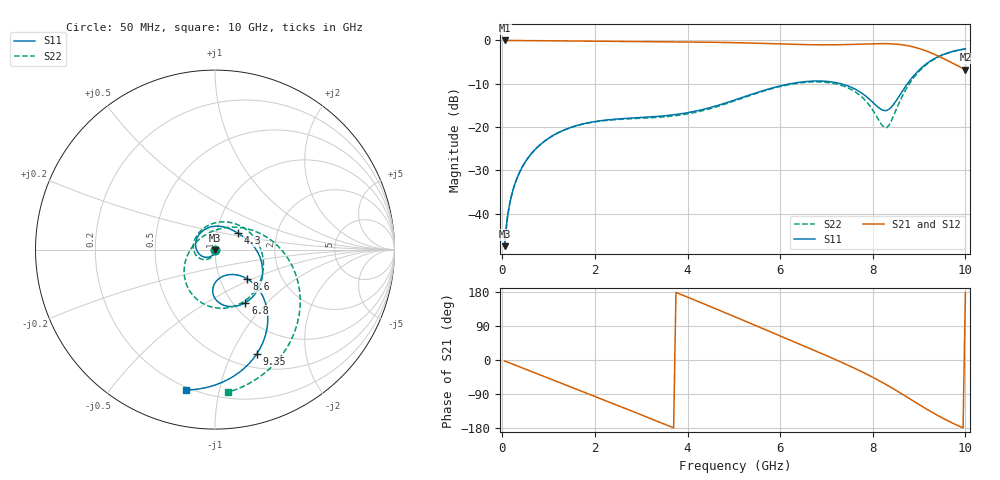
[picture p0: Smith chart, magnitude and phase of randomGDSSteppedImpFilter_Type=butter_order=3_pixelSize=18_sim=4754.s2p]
! freq	dB(S11)	phase(S11)	dB(S12)	phase(S12)
!  dB(S21)	phase(S21)	dB(S22)	phase(S22)
!S-par simulation data
#  GHz  S  DB  R 50
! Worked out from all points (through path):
!   200 points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, 50 MHz to 10 GHz, reference 50 ohm
!   highest |S21| = 0.00 dB at 50 MHz (marker M1); lowest = -6.8 dB at 10 GHz (marker M2)
!   group delay of S21, straight-line fit = 148 ps
!   lowest |S11| = -47.5 dB at 50 MHz (marker M3), VSWR 1.01, Z = 50 - j0.423 ohm
!   |S11| at or under -10 dB: start of sweep to 6.218 GHz; 7.317 GHz to 8.748 GHz (1.431 GHz wide, 17.8 % of centre)
!   |S22| runs from -47.5 to -2.0 dB; largest |S21 - S12| = 0
!   S11 on the Smith chart (normalised r, x): 50 MHz: 1.00, -0.01; 4.3 GHz: 1.27, +0.24; 6.8 GHz: 1.14, -0.76; 8.6 GHz: 1.34, -0.46; 9.35 GHz: 0.66, -1.26; 10 GHz: 0.18, -0.80
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0.05  -47.47 -89.3  -0.00 -2.5  -0.00 -2.5  -47.46 -88.4
0.1  -41.66 -93.5  -0.01 -4.9  -0.01 -4.9  -41.65 -92.0
0.2  -35.75 -100.3  -0.02 -9.7  -0.02 -9.7  -35.73 -97.4
0.5  -27.99 -118.2  -0.04 -24.1  -0.04 -24.1  -27.98 -110.9
1.15  -21.62 -155.1  -0.09 -55.3  -0.09 -55.3  -21.62 -137.8
1.75  -19.25 170.3  -0.15 -84.1  -0.15 -84.1  -19.28 -161.4
2.5  -18.12 126.2  -0.21 -120.3  -0.21 -120.3  -18.23 169.9
3.4  -17.49 75.3  -0.28 -164.3  -0.28 -164.3  -17.72 132.6
3.85  -16.93 53.5  -0.33 173.4  -0.33 173.4  -17.20 109.8
4.3  -16.01 35.0  -0.38 150.8  -0.38 150.8  -16.27 83.4
5.05  -13.63 8.2  -0.52 112.6  -0.52 112.6  -13.82 35.0
5.8  -11.06 -19.7  -0.74 73.9  -0.74 73.9  -11.19 -12.6
6.7  -9.38 -56.1  -0.99 27.2  -0.99 27.2  -9.57 -66.7
6.8  -9.36 -60.2  -1.00 22.0  -1.00 22.0  -9.56 -72.7
7.25  -9.83 -77.7  -0.99 -1.9  -0.99 -1.9  -10.15 -100.8
7.65  -11.42 -90.4  -0.88 -24.3  -0.88 -24.3  -12.07 -130.0
8.2  -16.03 -78.0  -0.73 -58.8  -0.73 -58.8  -19.57 147.7
8.35  -15.90 -60.4  -0.76 -69.2  -0.76 -69.2  -19.58 94.6
8.6  -12.35 -42.3  -0.96 -87.4  -0.96 -87.4  -13.68 34.8
9  -6.83 -50.1  -1.87 -117.5  -1.87 -117.5  -7.13 -12.0
9.35  -4.09 -68.0  -3.30 -142.8  -3.30 -142.8  -4.20 -42.0
10  -1.95 -101.8  -6.75 178.1  -6.75 178.1  -1.96 -84.6
